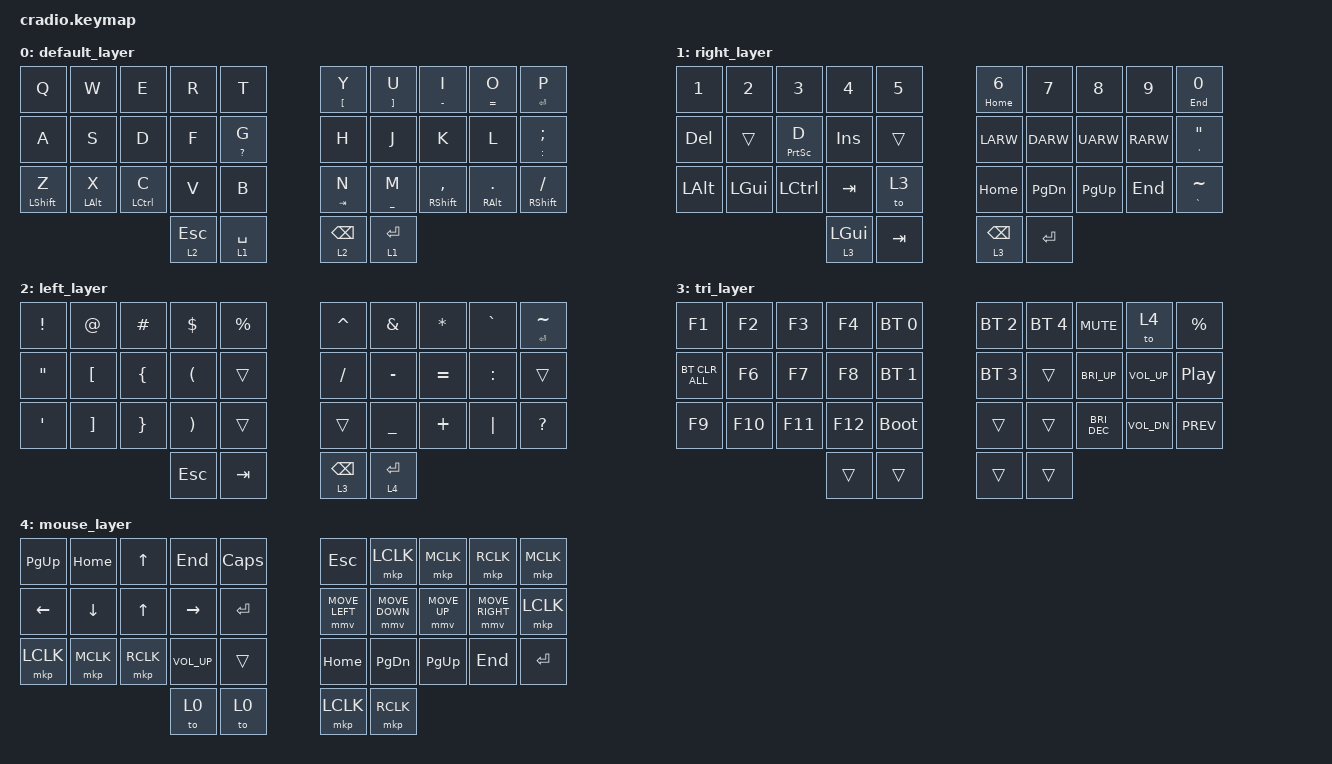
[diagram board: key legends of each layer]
#include <behaviors.dtsi>
#include <behaviors/mouse_keys.dtsi>
#include <dt-bindings/zmk/keys.h>
#include <dt-bindings/zmk/bt.h>
#include <dt-bindings/zmk/mouse.h>

#include "zmk-helpers/helper.h"
#include "zmk-helpers/key-labels/34.h"

#define HRML(k2,k3,k4) &ht LALT k2  &ht LCTRL k3  &ht LGUI k4
#define HRMR(k1,k2,k3) &ht RGUI k1  &ht RCTRL k2  &ht RALT k3
#define WHRML(k2,k3,k4) &ht LALT k2  &ht LGUI k3  &ht LCTRL k4
#define WHRMR(k1,k2,k3) &ht RCTRL k1  &ht RGUI k2  &ht RALT k3

#define WIN 0
#define RIG 1
#define LEF 2
#define TRI 3
#define MOUSE 4

&mt {
    flavor = "tap-preferred";
    tapping_term_ms = <200>;
};

&mmv {
   time-to-max-speed-ms = <680>;
   acceleration-exponent=<2>;
};

/* layer and key shortcuts */

/ {

  behaviors {
        ht: hold_tap {
            label = "hold_tap";
            compatible = "zmk,behavior-hold-tap";
            #binding-cells = <2>;
            flavor = "tap-preferred";
            tapping-term-ms = <220>;
            quick-tap-ms = <150>;
            global-quick-tap;
            bindings = <&kp>, <&kp>;
        };
        hm: homerow_mods {
            compatible = "zmk,behavior-hold-tap";
            label = "HOMEROW_MODS";
            #binding-cells = <2>;
            tapping-term-ms = <200>;
            quick_tap_ms = <0>;
            flavor = "tap-preferred";
            bindings = <&kp>, <&kp>;
        };
        td_shift: tap_dance_shift {
            compatible = "zmk,behavior-tap-dance";
            #binding-cells = <0>;
            tapping-term-ms = <500>;
            bindings = <&sk LSHIFT>, <&kp ESC>;
        };
  };

  keymap {
    compatible = "zmk,keymap";
    default_layer {
      bindings = <
         &kp Q          &kp W          &kp E          &kp R          &kp T               &ht LBKT Y     &ht RBKT U     &ht MINUS I         &ht EQUAL O         &ht ENTER P
         &kp A          &kp S          &kp D          &kp F          &ht QMARK G         &kp H          &kp J          &kp K               &kp L               &ht COLON SEMICOLON
         &ht LSHIFT Z   &ht LALT X     &ht LCTRL C    &kp V          &kp B               &ht TAB N      &ht UNDER M    &ht RSHIFT COMMA    &ht RALT DOT        &ht RSHIFT FSLH
                                                      &lt 2 ESC      &lt 1 SPACE         &lt 2 BSPC     &lt 1 ENTER
      >;
    };

    right_layer {  // 1
      bindings = <
         &kp N1         &kp N2         &kp N3         &kp N4         &kp N5              &ht HOME N6         &kp N7         &kp N8         &kp N9              &ht END N0
         &kp DEL        &trans         &ht PSCRN D    &kp INS        &trans              &kp LARW            &kp DARW       &kp UARW       &kp RARW            &ht SQT DQT
         &kp LALT       &kp LGUI       &kp LCTRL      &kp TAB        &to 3               &kp HOME            &kp PG_DN      &kp PG_UP      &kp END             &ht GRAVE TILDE
                                                      &lt 3 LGUI     &kp TAB             &lt 3 BSPC          &kp ENTER
      >;
    };


    left_layer {  // 2
      bindings = <
         &kp EXCL       &kp AT         &kp HASH       &kp DLLR       &kp PRCNT           &kp CARET           &kp AMPS       &kp ASTRK      &kp GRAVE      &ht ENTER TILDE
         &kp DQT        &kp LBKT       &kp LBRC       &kp LPAR       &trans              &kp FSLH            &kp MINUS      &kp EQUAL      &kp COLON      &trans
         &kp SQT        &kp RBKT       &kp RBRC       &kp RPAR       &trans              &trans              &kp UNDER      &kp PLUS       &kp PIPE       &kp QMARK
                                                      &kp ESC        &kp TAB             &lt 3 BSPC           &lt 4 ENTER
      >;
    };


    tri_layer {  // 3
      bindings = <
         &kp F1         &kp F2         &kp F3         &kp F4         &bt BT_SEL 0        &bt BT_SEL 2   &bt BT_SEL 4   &kp C_MUTE     &to 4          &kp PRCNT
         &bt BT_CLR_ALL &kp F6         &kp F7         &kp F8         &bt BT_SEL 1        &bt BT_SEL 3   &trans         &kp C_BRI_UP   &kp C_VOL_UP   &kp C_PP
         &kp F9         &kp F10        &kp F11        &kp F12        &bootloader         &trans         &trans         &kp C_BRI_DEC  &kp C_VOL_DN   &kp C_PREV
                                                      &trans         &trans              &trans         &trans
      >;
    };

   
    mouse_layer {  // 4
	    bindings = <
         &kp PG_UP      &kp HOME       &kp UP         &kp END        &kp CAPS            &kp ESC        &mkp LCLK      &mkp MCLK      &mkp RCLK           &mkp MCLK 
         &kp LEFT       &kp DOWN       &kp UP         &kp RIGHT      &kp ENTER           &mmv MOVE_LEFT &mmv MOVE_DOWN &mmv MOVE_UP   &mmv MOVE_RIGHT     &mkp LCLK
         &mkp LCLK      &mkp MCLK      &mkp RCLK      &kp K_VOL_UP   &trans              &kp HOME       &kp PG_DN      &kp PG_UP      &kp END             &kp ENTER
                                                      &to 0          &to 0               &mkp LCLK      &mkp RCLK
      >;
	  };

/*********
        right_layer {  // 1
            bindings = <
            &kp N1     &kp N2      &kp N3       &kp N4    &kp N5      &kp N6    &kp N7     &kp N8          &kp N9           &ht ENTER N0
            &kp DEL    &trans      &ht PSCRN D  &kp INS   &trans      &kp LARW  &kp DARW   &kp UARW        &kp RARW         &trans
            &kp LALT   &ht LGUI X  &kp LCTRL    &kp TAB   &to 3       &trans    &kp HOME   &ht SEMI PG_DN  &ht COLON PG_UP  &kp END
                                                &trans    &to 0       &trans    &to 2
            >;
        };

        left_layer {  // 2
            bindings = <
        //│  !       │  @       │  #       │  $       │  %       │   │  ^       │  &       │  *       │  `       │  ~       │
            &kp EXCL   &kp AT     &kp HASH   &kp DLLR   &kp PRCNT      &kp CARET  &kp AMPS   &kp ASTRK  &kp GRAVE   &ht ENTER TILDE
        //│  "       │  [       │  {       │  (       │          │   │   /      │  -       │  =       │     :    │  ;       │
            &kp DQT  &kp LBKT   &kp LBRC   &kp LPAR      &trans         &kp FSLH   &kp MINUS  &kp EQUAL  &kp COLON   &trans
        //│  '       │  ]       │  }       │  )       │          │   │    \     │  _       │  +       │  │       │   ?      │
            &kp SQT     &kp RBKT   &kp RBRC   &kp RPAR   &trans         &trans     &kp UNDER  &kp PLUS   &kp PIPE  &kp QMARK
                                             &trans       &to 0         &trans     &to 4 
            >;
        };

        tri_layer {  // 3
            bindings = <
            &kp F1     &kp F2     &kp F3     &kp F4     &bt BT_SEL 0     &bt BT_SEL 2 &bt BT_SEL 4    &to MOUSE  &kp C_MUTE  &kp C_NEXT
            &kp F5     &kp F6     &kp F7     &kp F8     &bt BT_SEL 1     &bt BT_SEL 3 &bt BT_CLR      &kp C_BRI_UP   &kp C_VOL_UP  &kp C_PP
            &kp F9     &kp F10    &kp F11    &kp F12    &bootloader      &trans       &bt BT_CLR_ALL  &kp C_BRI_DEC  &kp C_VOL_DN &kp C_PREV
                                              &trans    &to 0            &trans       &trans
            >;
        };

   
        mouse_layer {  // 4
	          bindings = <
       &kp PG_UP  &kp HOME  &kp UP &kp END &kp CAPS 		                        &kp ESC            &mkp LCLK        &mkp MCLK       &mkp RCLK         &mkp MCLK 
       &kp LEFT   &kp DOWN  &kp UP &kp RIGHT &kp ENTER  	                      &mmv MOVE_LEFT     &mmv MOVE_DOWN   &mmv MOVE_UP    &mmv MOVE_RIGHT   &mkp LCLK
       &mkp LCLK  &mkp MCLK  &mkp RCLK &kp K_VOL_UP  &trans                     &trans             &kp HOME         &kp PG_DN       &kp PG_UP         &kp END
                                         &trans     &trans                        &to 0     &to 0
            >;
	      };
 
*****/
  };
};
